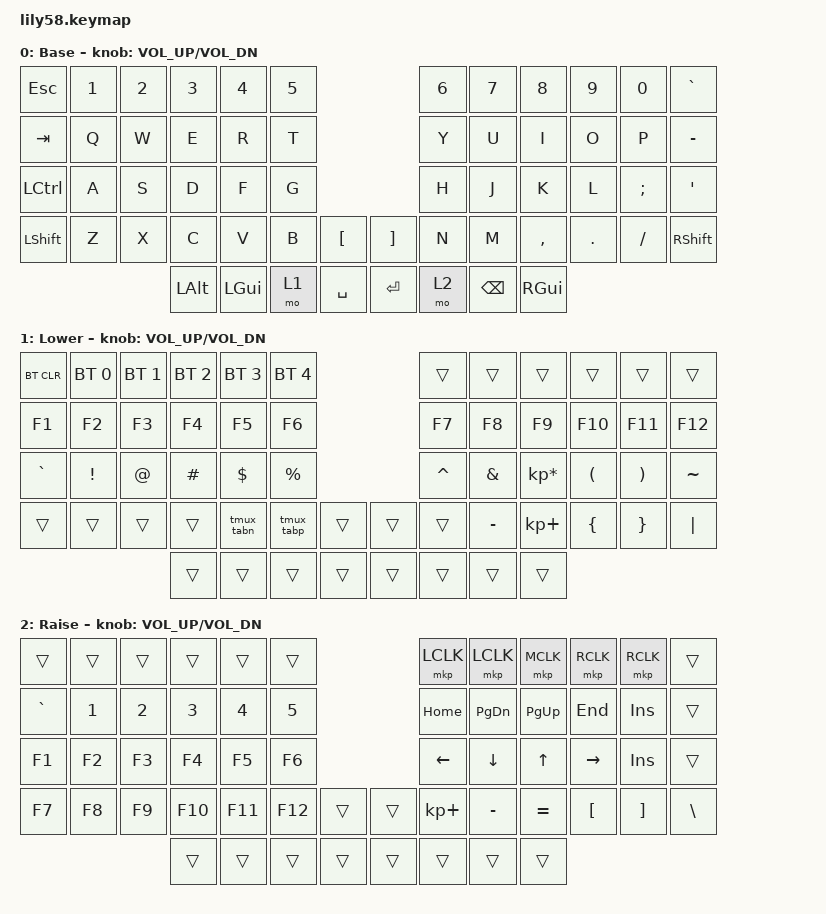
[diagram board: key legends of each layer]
/*
 * Copyright (c) 2020 The ZMK Contributors
 *
 * SPDX-License-Identifier: MIT
 */

#include <behaviors.dtsi>
#include <dt-bindings/zmk/keys.h>
#include <dt-bindings/zmk/bt.h>
#include <dt-bindings/zmk/ext_power.h>
#include <dt-bindings/zmk/mouse.h>

/ {
    macros {
        tmux_tabn: tmux_tabn {
            compatible = "zmk,behavior-macro";
	    #binding-cells = <0>;
            bindings
                = <&macro_press &kp LCTRL >
                , <&macro_tap &kp A>
                , <&macro_release &kp LCTRL >
                , <&macro_tap &kp N>
                ;
        };
        tmux_tabp: tmux_tabp {
            compatible = "zmk,behavior-macro";
	    #binding-cells = <0>;
            bindings
                = <&macro_press &kp LCTRL >
                , <&macro_tap &kp A>
                , <&macro_release &kp LCTRL >
                , <&macro_tap &kp P>
                ;
        };
    };

    keymap {
        compatible = "zmk,keymap";

        default_layer {
// ------------------------------------------------------------------------------------------------------------
// |  ESC  |  1  |  2  |  3   |  4   |  5   |                   |  6   |  7    |  8    |  9   |   0   |   `   |
// |  TAB  |  Q  |  W  |  E   |  R   |  T   |                   |  Y   |  U    |  I    |  O   |   P   |   -   |
// |  CTRL |  A  |  S  |  D   |  F   |  G   |                   |  H   |  J    |  K    |  L   |   ;   |   '   |
// | SHIFT |  Z  |  X  |  C   |  V   |  B   |   "["  |  |  "]"  |  N   |  M    |  ,    |  .   |   /   | SHIFT |
//                     | ALT  | GUI  | LOWER|  SPACE |  | ENTER | RAISE| BSPC  | GUI   |
            display-name = "Base";
            bindings = <
&kp ESC   &kp N1 &kp N2 &kp N3   &kp N4   &kp N5                     &kp N6 &kp N7   &kp N8    &kp N9  &kp N0   &kp GRAVE
&kp TAB   &kp Q  &kp W  &kp E    &kp R    &kp T                      &kp Y  &kp U    &kp I     &kp O   &kp P    &kp MINUS
&kp LCTRL &kp A  &kp S  &kp D    &kp F    &kp G                      &kp H  &kp J    &kp K     &kp L   &kp SEMI &kp SQT
&kp LSHFT &kp Z  &kp X  &kp C    &kp V    &kp B  &kp LBKT   &kp RBKT &kp N  &kp M    &kp COMMA &kp DOT &kp FSLH &kp RSHFT
                        &kp LALT &kp LGUI &mo 1  &kp SPACE  &kp RET  &mo 2  &kp BSPC &kp RGUI
            >;

            sensor-bindings = <&inc_dec_kp C_VOL_UP C_VOL_DN>;
        };

        lower_layer {
// ------------------------------------------------------------------------------------------------------------
// | BTCLR | BT1 | BT2 |  BT3 |  BT4 |  BT5 |                   |      |       |       |      |       |       |
// |  F1   |  F2 |  F3 |  F4  |  F5  |  F6  |                   |  F7  |  F8   |  F9   |  F10 |  F11  |  F12  |
// |   `   |  !  |  @  |  #   |  $   |  %   |                   |  ^   |  &    |  *    |  (   |   )   |   ~   |
// |       |     |     |      | TABN | TABP |        |  |       |      |  _    |  +    |  {   |   }   |  "|"  |
//                     |      |      |      |        |  |       |      |       |       |
            display-name = "Lower";
            bindings = <
&bt BT_CLR &bt BT_SEL 0     &bt BT_SEL 1      &bt BT_SEL 2      &bt BT_SEL 3 &bt BT_SEL 4                 &trans    &trans    &trans          &trans    &trans    &trans
&kp F1     &kp F2           &kp F3            &kp F4            &kp F5       &kp F6                       &kp F7    &kp F8    &kp F9          &kp F10   &kp F11   &kp F12
&kp GRAVE  &kp EXCL         &kp AT            &kp HASH          &kp DOLLAR   &kp PRCNT                    &kp CARET &kp AMPS  &kp KP_MULTIPLY &kp LPAR  &kp RPAR  &kp TILDE
&trans     &trans           &trans            &trans            &tmux_tabn   &tmux_tabp &trans  &trans    &trans    &kp MINUS &kp KP_PLUS     &kp LBRC  &kp RBRC  &kp PIPE
                                              &trans            &trans       &trans     &trans  &trans    &trans    &trans    &trans
            >;

            sensor-bindings = <&inc_dec_kp C_VOL_UP C_VOL_DN>;
        };

        raise_layer {
// --------------------------------------------------------------------------------------------------------------
// |       |     |     |      |      |      |                   | MLCLK | MLCLK | MMCLK | MRCLK | MRCLK |       |
// |   `   |  1  |  2  |  3   |  4   |  5   |                   | HOME  | PGDN  | PGUP  |  END  |  INS  |       |
// |   F1  |  F2 |  F3 |  F4  |  F5  |  F6  |                   |   <-  |   v   |  ^    |  ->   |  INS  |       |

// |   F7  |  F8 |  F9 |  F10 |  F11 |  F12 |        |  |       |  +    |   -   |   =   |  [    |   ]   |   \   |
//                     |      |      |      |        |  |       |       |       |       |
            display-name = "Raise";
            bindings = <
&trans    &trans &trans &trans  &trans  &trans                       &mkp LCLK   &mkp LCLK &mkp MCLK &mkp RCLK &mkp RCLK &trans
&kp GRAVE &kp N1 &kp N2 &kp N3  &kp N4  &kp N5                       &kp HOME    &kp PG_DN &kp PG_UP &kp END   &kp INS   &trans
&kp F1    &kp F2 &kp F3 &kp F4  &kp F5  &kp F6                       &kp LEFT    &kp DOWN  &kp UP    &kp RIGHT &kp INS   &trans
&kp F7    &kp F8 &kp F9 &kp F10 &kp F11 &kp F12   &trans   &trans    &kp KP_PLUS &kp MINUS &kp EQUAL &kp LBKT  &kp RBKT  &kp BSLH
                        &trans  &trans  &trans    &trans   &trans    &trans      &trans    &trans
            >;

            sensor-bindings = <&inc_dec_kp C_VOL_UP C_VOL_DN>;
        };
    };
};
